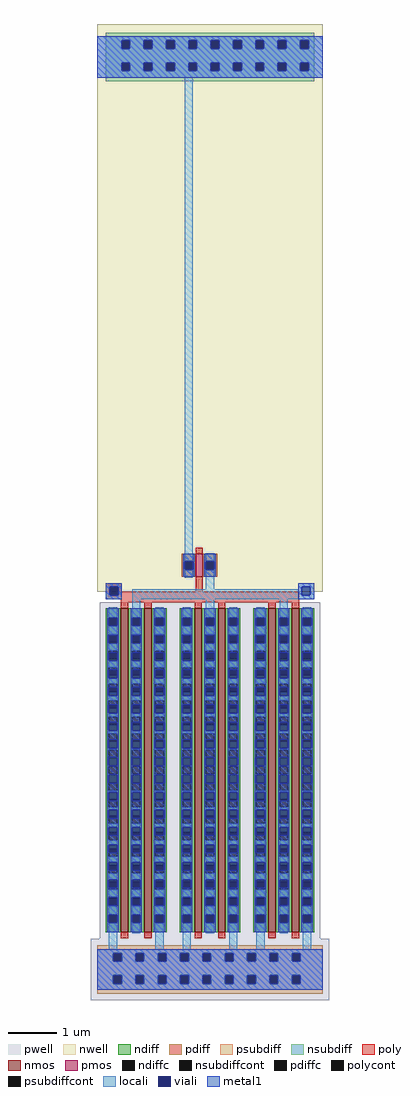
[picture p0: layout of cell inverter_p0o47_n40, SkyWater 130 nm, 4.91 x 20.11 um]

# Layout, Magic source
magic
tech sky130A
magscale 1 2
<< nwell >>
rect -36 1490 894 3830
<< pwell >>
rect -62 -192 920 60
<< psubdiff >>
rect -36 1 894 34
rect -36 -33 31 1
rect 65 -33 123 1
rect 157 -33 215 1
rect 249 -33 307 1
rect 341 -33 399 1
rect 433 -33 491 1
rect 525 -33 583 1
rect 617 -33 675 1
rect 709 -33 767 1
rect 801 -33 894 1
rect -36 -91 894 -33
rect -36 -125 31 -91
rect 65 -125 123 -91
rect 157 -125 215 -91
rect 249 -125 307 -91
rect 341 -125 399 -91
rect 433 -125 491 -91
rect 525 -125 583 -91
rect 617 -125 675 -91
rect 709 -125 767 -91
rect 801 -125 894 -91
rect -36 -166 894 -125
<< nsubdiff >>
rect 0 3763 858 3794
rect 0 3729 65 3763
rect 99 3729 157 3763
rect 191 3729 249 3763
rect 283 3729 341 3763
rect 375 3729 433 3763
rect 467 3729 525 3763
rect 559 3729 617 3763
rect 651 3729 709 3763
rect 743 3729 801 3763
rect 835 3729 858 3763
rect 0 3671 858 3729
rect 0 3637 65 3671
rect 99 3637 157 3671
rect 191 3637 249 3671
rect 283 3637 341 3671
rect 375 3637 433 3671
rect 467 3637 525 3671
rect 559 3637 617 3671
rect 651 3637 709 3671
rect 743 3637 801 3671
rect 835 3637 858 3671
rect 0 3594 858 3637
<< psubdiffcont >>
rect 31 -33 65 1
rect 123 -33 157 1
rect 215 -33 249 1
rect 307 -33 341 1
rect 399 -33 433 1
rect 491 -33 525 1
rect 583 -33 617 1
rect 675 -33 709 1
rect 767 -33 801 1
rect 31 -125 65 -91
rect 123 -125 157 -91
rect 215 -125 249 -91
rect 307 -125 341 -91
rect 399 -125 433 -91
rect 491 -125 525 -91
rect 583 -125 617 -91
rect 675 -125 709 -91
rect 767 -125 801 -91
<< nsubdiffcont >>
rect 65 3729 99 3763
rect 157 3729 191 3763
rect 249 3729 283 3763
rect 341 3729 375 3763
rect 433 3729 467 3763
rect 525 3729 559 3763
rect 617 3729 651 3763
rect 709 3729 743 3763
rect 801 3729 835 3763
rect 65 3637 99 3671
rect 157 3637 191 3671
rect 249 3637 283 3671
rect 341 3637 375 3671
rect 433 3637 467 3671
rect 525 3637 559 3671
rect 617 3637 651 3671
rect 709 3637 743 3671
rect 801 3637 835 3671
<< poly >>
rect 0 1510 66 1526
rect 0 1476 16 1510
rect 50 1490 66 1510
rect 370 1490 400 1526
rect 50 1476 796 1490
rect 0 1460 796 1476
rect 188 1448 366 1460
rect 492 1448 670 1460
<< polycont >>
rect 16 1476 50 1510
<< locali >>
rect -36 3763 894 3780
rect -36 3729 65 3763
rect 99 3729 157 3763
rect 191 3729 249 3763
rect 283 3729 341 3763
rect 375 3729 433 3763
rect 467 3729 525 3763
rect 559 3729 617 3763
rect 651 3729 709 3763
rect 743 3729 801 3763
rect 835 3729 894 3763
rect -36 3671 894 3729
rect -36 3637 65 3671
rect 99 3637 157 3671
rect 191 3637 249 3671
rect 283 3637 341 3671
rect 375 3637 433 3671
rect 467 3637 525 3671
rect 559 3637 617 3671
rect 651 3637 709 3671
rect 743 3637 801 3671
rect 835 3637 894 3671
rect -36 3608 894 3637
rect 324 1650 358 3608
rect 0 1510 66 1526
rect 0 1476 16 1510
rect 50 1476 66 1510
rect 412 1500 446 1548
rect 792 1510 858 1526
rect 792 1500 808 1510
rect 0 1460 66 1476
rect 108 1476 808 1500
rect 842 1476 858 1510
rect 108 1460 858 1476
rect 108 1426 142 1460
rect 412 1426 446 1460
rect 716 1426 750 1460
rect 12 18 46 84
rect 204 18 238 84
rect 316 18 350 84
rect 508 18 542 84
rect 620 18 654 84
rect 812 18 846 84
rect -36 1 894 18
rect -36 -33 31 1
rect 65 -33 123 1
rect 157 -33 215 1
rect 249 -33 307 1
rect 341 -33 399 1
rect 433 -33 491 1
rect 525 -33 583 1
rect 617 -33 675 1
rect 709 -33 767 1
rect 801 -33 894 1
rect -36 -91 894 -33
rect -36 -125 31 -91
rect 65 -125 123 -91
rect 157 -125 215 -91
rect 249 -125 307 -91
rect 341 -125 399 -91
rect 433 -125 491 -91
rect 525 -125 583 -91
rect 617 -125 675 -91
rect 709 -125 767 -91
rect 801 -125 894 -91
rect -36 -150 894 -125
<< viali >>
rect 65 3729 99 3763
rect 157 3729 191 3763
rect 249 3729 283 3763
rect 341 3729 375 3763
rect 433 3729 467 3763
rect 525 3729 559 3763
rect 617 3729 651 3763
rect 709 3729 743 3763
rect 801 3729 835 3763
rect 65 3637 99 3671
rect 157 3637 191 3671
rect 249 3637 283 3671
rect 341 3637 375 3671
rect 433 3637 467 3671
rect 525 3637 559 3671
rect 617 3637 651 3671
rect 709 3637 743 3671
rect 801 3637 835 3671
rect 16 1476 50 1510
rect 808 1476 842 1510
rect 31 -33 65 1
rect 123 -33 157 1
rect 215 -33 249 1
rect 307 -33 341 1
rect 399 -33 433 1
rect 491 -33 525 1
rect 583 -33 617 1
rect 675 -33 709 1
rect 767 -33 801 1
rect 31 -125 65 -91
rect 123 -125 157 -91
rect 215 -125 249 -91
rect 307 -125 341 -91
rect 399 -125 433 -91
rect 491 -125 525 -91
rect 583 -125 617 -91
rect 675 -125 709 -91
rect 767 -125 801 -91
<< metal1 >>
rect -36 3763 894 3780
rect -36 3729 65 3763
rect 99 3729 157 3763
rect 191 3729 249 3763
rect 283 3729 341 3763
rect 375 3729 433 3763
rect 467 3729 525 3763
rect 559 3729 617 3763
rect 651 3729 709 3763
rect 743 3729 801 3763
rect 835 3729 894 3763
rect -36 3671 894 3729
rect -36 3637 65 3671
rect 99 3637 157 3671
rect 191 3637 249 3671
rect 283 3637 341 3671
rect 375 3637 433 3671
rect 467 3637 525 3671
rect 559 3637 617 3671
rect 651 3637 709 3671
rect 743 3637 801 3671
rect 835 3637 894 3671
rect -36 3608 894 3637
rect 0 1510 66 1526
rect 0 1476 16 1510
rect 50 1476 66 1510
rect 0 1460 66 1476
rect 792 1510 858 1526
rect 792 1476 808 1510
rect 842 1476 858 1510
rect 792 1460 858 1476
rect -36 1 894 18
rect -36 -33 31 1
rect 65 -33 123 1
rect 157 -33 215 1
rect 249 -33 307 1
rect 341 -33 399 1
rect 433 -33 491 1
rect 525 -33 583 1
rect 617 -33 675 1
rect 709 -33 767 1
rect 801 -33 894 1
rect -36 -91 894 -33
rect -36 -125 31 -91
rect 65 -125 123 -91
rect 157 -125 215 -91
rect 249 -125 307 -91
rect 341 -125 399 -91
rect 433 -125 491 -91
rect 525 -125 583 -91
rect 617 -125 675 -91
rect 709 -125 767 -91
rect 801 -125 894 -91
rect -36 -150 894 -125
use sky130_fd_pr__nfet_01v8_CTSNWR  sky130_fd_pr__nfet_01v8_CTSNWR_0
transform 1 0 125 0 1 755
box -151 -693 151 723
use sky130_fd_pr__nfet_01v8_CTSNWR  sky130_fd_pr__nfet_01v8_CTSNWR_1
transform 1 0 429 0 1 755
box -151 -693 151 723
use sky130_fd_pr__nfet_01v8_CTSNWR  sky130_fd_pr__nfet_01v8_CTSNWR_2
transform 1 0 733 0 1 755
box -151 -693 151 723
use sky130_fd_pr__pfet_01v8_FCTDLW  sky130_fd_pr__pfet_01v8_FCTDLW_0
transform 1 0 385 0 1 1599
box -109 -109 109 109
<< end >>

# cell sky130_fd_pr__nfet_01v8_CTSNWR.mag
magic
tech sky130A
magscale 1 2
<< pwell >>
rect -151 -693 151 693
<< nmos >>
rect -63 -667 -33 667
rect 33 -667 63 667
<< ndiff >>
rect -125 629 -63 667
rect -125 595 -113 629
rect -79 595 -63 629
rect -125 561 -63 595
rect -125 527 -113 561
rect -79 527 -63 561
rect -125 493 -63 527
rect -125 459 -113 493
rect -79 459 -63 493
rect -125 425 -63 459
rect -125 391 -113 425
rect -79 391 -63 425
rect -125 357 -63 391
rect -125 323 -113 357
rect -79 323 -63 357
rect -125 289 -63 323
rect -125 255 -113 289
rect -79 255 -63 289
rect -125 221 -63 255
rect -125 187 -113 221
rect -79 187 -63 221
rect -125 153 -63 187
rect -125 119 -113 153
rect -79 119 -63 153
rect -125 85 -63 119
rect -125 51 -113 85
rect -79 51 -63 85
rect -125 17 -63 51
rect -125 -17 -113 17
rect -79 -17 -63 17
rect -125 -51 -63 -17
rect -125 -85 -113 -51
rect -79 -85 -63 -51
rect -125 -119 -63 -85
rect -125 -153 -113 -119
rect -79 -153 -63 -119
rect -125 -187 -63 -153
rect -125 -221 -113 -187
rect -79 -221 -63 -187
rect -125 -255 -63 -221
rect -125 -289 -113 -255
rect -79 -289 -63 -255
rect -125 -323 -63 -289
rect -125 -357 -113 -323
rect -79 -357 -63 -323
rect -125 -391 -63 -357
rect -125 -425 -113 -391
rect -79 -425 -63 -391
rect -125 -459 -63 -425
rect -125 -493 -113 -459
rect -79 -493 -63 -459
rect -125 -527 -63 -493
rect -125 -561 -113 -527
rect -79 -561 -63 -527
rect -125 -595 -63 -561
rect -125 -629 -113 -595
rect -79 -629 -63 -595
rect -125 -667 -63 -629
rect -33 629 33 667
rect -33 595 -17 629
rect 17 595 33 629
rect -33 561 33 595
rect -33 527 -17 561
rect 17 527 33 561
rect -33 493 33 527
rect -33 459 -17 493
rect 17 459 33 493
rect -33 425 33 459
rect -33 391 -17 425
rect 17 391 33 425
rect -33 357 33 391
rect -33 323 -17 357
rect 17 323 33 357
rect -33 289 33 323
rect -33 255 -17 289
rect 17 255 33 289
rect -33 221 33 255
rect -33 187 -17 221
rect 17 187 33 221
rect -33 153 33 187
rect -33 119 -17 153
rect 17 119 33 153
rect -33 85 33 119
rect -33 51 -17 85
rect 17 51 33 85
rect -33 17 33 51
rect -33 -17 -17 17
rect 17 -17 33 17
rect -33 -51 33 -17
rect -33 -85 -17 -51
rect 17 -85 33 -51
rect -33 -119 33 -85
rect -33 -153 -17 -119
rect 17 -153 33 -119
rect -33 -187 33 -153
rect -33 -221 -17 -187
rect 17 -221 33 -187
rect -33 -255 33 -221
rect -33 -289 -17 -255
rect 17 -289 33 -255
rect -33 -323 33 -289
rect -33 -357 -17 -323
rect 17 -357 33 -323
rect -33 -391 33 -357
rect -33 -425 -17 -391
rect 17 -425 33 -391
rect -33 -459 33 -425
rect -33 -493 -17 -459
rect 17 -493 33 -459
rect -33 -527 33 -493
rect -33 -561 -17 -527
rect 17 -561 33 -527
rect -33 -595 33 -561
rect -33 -629 -17 -595
rect 17 -629 33 -595
rect -33 -667 33 -629
rect 63 629 125 667
rect 63 595 79 629
rect 113 595 125 629
rect 63 561 125 595
rect 63 527 79 561
rect 113 527 125 561
rect 63 493 125 527
rect 63 459 79 493
rect 113 459 125 493
rect 63 425 125 459
rect 63 391 79 425
rect 113 391 125 425
rect 63 357 125 391
rect 63 323 79 357
rect 113 323 125 357
rect 63 289 125 323
rect 63 255 79 289
rect 113 255 125 289
rect 63 221 125 255
rect 63 187 79 221
rect 113 187 125 221
rect 63 153 125 187
rect 63 119 79 153
rect 113 119 125 153
rect 63 85 125 119
rect 63 51 79 85
rect 113 51 125 85
rect 63 17 125 51
rect 63 -17 79 17
rect 113 -17 125 17
rect 63 -51 125 -17
rect 63 -85 79 -51
rect 113 -85 125 -51
rect 63 -119 125 -85
rect 63 -153 79 -119
rect 113 -153 125 -119
rect 63 -187 125 -153
rect 63 -221 79 -187
rect 113 -221 125 -187
rect 63 -255 125 -221
rect 63 -289 79 -255
rect 113 -289 125 -255
rect 63 -323 125 -289
rect 63 -357 79 -323
rect 113 -357 125 -323
rect 63 -391 125 -357
rect 63 -425 79 -391
rect 113 -425 125 -391
rect 63 -459 125 -425
rect 63 -493 79 -459
rect 113 -493 125 -459
rect 63 -527 125 -493
rect 63 -561 79 -527
rect 113 -561 125 -527
rect 63 -595 125 -561
rect 63 -629 79 -595
rect 113 -629 125 -595
rect 63 -667 125 -629
<< ndiffc >>
rect -113 595 -79 629
rect -113 527 -79 561
rect -113 459 -79 493
rect -113 391 -79 425
rect -113 323 -79 357
rect -113 255 -79 289
rect -113 187 -79 221
rect -113 119 -79 153
rect -113 51 -79 85
rect -113 -17 -79 17
rect -113 -85 -79 -51
rect -113 -153 -79 -119
rect -113 -221 -79 -187
rect -113 -289 -79 -255
rect -113 -357 -79 -323
rect -113 -425 -79 -391
rect -113 -493 -79 -459
rect -113 -561 -79 -527
rect -113 -629 -79 -595
rect -17 595 17 629
rect -17 527 17 561
rect -17 459 17 493
rect -17 391 17 425
rect -17 323 17 357
rect -17 255 17 289
rect -17 187 17 221
rect -17 119 17 153
rect -17 51 17 85
rect -17 -17 17 17
rect -17 -85 17 -51
rect -17 -153 17 -119
rect -17 -221 17 -187
rect -17 -289 17 -255
rect -17 -357 17 -323
rect -17 -425 17 -391
rect -17 -493 17 -459
rect -17 -561 17 -527
rect -17 -629 17 -595
rect 79 595 113 629
rect 79 527 113 561
rect 79 459 113 493
rect 79 391 113 425
rect 79 323 113 357
rect 79 255 113 289
rect 79 187 113 221
rect 79 119 113 153
rect 79 51 113 85
rect 79 -17 113 17
rect 79 -85 113 -51
rect 79 -153 113 -119
rect 79 -221 113 -187
rect 79 -289 113 -255
rect 79 -357 113 -323
rect 79 -425 113 -391
rect 79 -493 113 -459
rect 79 -561 113 -527
rect 79 -629 113 -595
<< poly >>
rect -63 693 63 723
rect -63 667 -33 693
rect 33 667 63 693
rect -63 -693 -33 -667
rect 33 -693 63 -667
<< locali >>
rect -113 629 -79 671
rect -113 561 -79 595
rect -113 493 -79 523
rect -113 425 -79 451
rect -113 357 -79 379
rect -113 289 -79 307
rect -113 221 -79 235
rect -113 153 -79 163
rect -113 85 -79 91
rect -113 17 -79 19
rect -113 -19 -79 -17
rect -113 -91 -79 -85
rect -113 -163 -79 -153
rect -113 -235 -79 -221
rect -113 -307 -79 -289
rect -113 -379 -79 -357
rect -113 -451 -79 -425
rect -113 -523 -79 -493
rect -113 -595 -79 -561
rect -113 -671 -79 -629
rect -17 629 17 671
rect -17 561 17 595
rect -17 493 17 523
rect -17 425 17 451
rect -17 357 17 379
rect -17 289 17 307
rect -17 221 17 235
rect -17 153 17 163
rect -17 85 17 91
rect -17 17 17 19
rect -17 -19 17 -17
rect -17 -91 17 -85
rect -17 -163 17 -153
rect -17 -235 17 -221
rect -17 -307 17 -289
rect -17 -379 17 -357
rect -17 -451 17 -425
rect -17 -523 17 -493
rect -17 -595 17 -561
rect -17 -671 17 -629
rect 79 629 113 671
rect 79 561 113 595
rect 79 493 113 523
rect 79 425 113 451
rect 79 357 113 379
rect 79 289 113 307
rect 79 221 113 235
rect 79 153 113 163
rect 79 85 113 91
rect 79 17 113 19
rect 79 -19 113 -17
rect 79 -91 113 -85
rect 79 -163 113 -153
rect 79 -235 113 -221
rect 79 -307 113 -289
rect 79 -379 113 -357
rect 79 -451 113 -425
rect 79 -523 113 -493
rect 79 -595 113 -561
rect 79 -671 113 -629
<< viali >>
rect -113 595 -79 629
rect -113 527 -79 557
rect -113 523 -79 527
rect -113 459 -79 485
rect -113 451 -79 459
rect -113 391 -79 413
rect -113 379 -79 391
rect -113 323 -79 341
rect -113 307 -79 323
rect -113 255 -79 269
rect -113 235 -79 255
rect -113 187 -79 197
rect -113 163 -79 187
rect -113 119 -79 125
rect -113 91 -79 119
rect -113 51 -79 53
rect -113 19 -79 51
rect -113 -51 -79 -19
rect -113 -53 -79 -51
rect -113 -119 -79 -91
rect -113 -125 -79 -119
rect -113 -187 -79 -163
rect -113 -197 -79 -187
rect -113 -255 -79 -235
rect -113 -269 -79 -255
rect -113 -323 -79 -307
rect -113 -341 -79 -323
rect -113 -391 -79 -379
rect -113 -413 -79 -391
rect -113 -459 -79 -451
rect -113 -485 -79 -459
rect -113 -527 -79 -523
rect -113 -557 -79 -527
rect -113 -629 -79 -595
rect -17 595 17 629
rect -17 527 17 557
rect -17 523 17 527
rect -17 459 17 485
rect -17 451 17 459
rect -17 391 17 413
rect -17 379 17 391
rect -17 323 17 341
rect -17 307 17 323
rect -17 255 17 269
rect -17 235 17 255
rect -17 187 17 197
rect -17 163 17 187
rect -17 119 17 125
rect -17 91 17 119
rect -17 51 17 53
rect -17 19 17 51
rect -17 -51 17 -19
rect -17 -53 17 -51
rect -17 -119 17 -91
rect -17 -125 17 -119
rect -17 -187 17 -163
rect -17 -197 17 -187
rect -17 -255 17 -235
rect -17 -269 17 -255
rect -17 -323 17 -307
rect -17 -341 17 -323
rect -17 -391 17 -379
rect -17 -413 17 -391
rect -17 -459 17 -451
rect -17 -485 17 -459
rect -17 -527 17 -523
rect -17 -557 17 -527
rect -17 -629 17 -595
rect 79 595 113 629
rect 79 527 113 557
rect 79 523 113 527
rect 79 459 113 485
rect 79 451 113 459
rect 79 391 113 413
rect 79 379 113 391
rect 79 323 113 341
rect 79 307 113 323
rect 79 255 113 269
rect 79 235 113 255
rect 79 187 113 197
rect 79 163 113 187
rect 79 119 113 125
rect 79 91 113 119
rect 79 51 113 53
rect 79 19 113 51
rect 79 -51 113 -19
rect 79 -53 113 -51
rect 79 -119 113 -91
rect 79 -125 113 -119
rect 79 -187 113 -163
rect 79 -197 113 -187
rect 79 -255 113 -235
rect 79 -269 113 -255
rect 79 -323 113 -307
rect 79 -341 113 -323
rect 79 -391 113 -379
rect 79 -413 113 -391
rect 79 -459 113 -451
rect 79 -485 113 -459
rect 79 -527 113 -523
rect 79 -557 113 -527
rect 79 -629 113 -595
<< metal1 >>
rect -119 629 -73 667
rect -119 595 -113 629
rect -79 595 -73 629
rect -119 557 -73 595
rect -119 523 -113 557
rect -79 523 -73 557
rect -119 485 -73 523
rect -119 451 -113 485
rect -79 451 -73 485
rect -119 413 -73 451
rect -119 379 -113 413
rect -79 379 -73 413
rect -119 341 -73 379
rect -119 307 -113 341
rect -79 307 -73 341
rect -119 269 -73 307
rect -119 235 -113 269
rect -79 235 -73 269
rect -119 197 -73 235
rect -119 163 -113 197
rect -79 163 -73 197
rect -119 125 -73 163
rect -119 91 -113 125
rect -79 91 -73 125
rect -119 53 -73 91
rect -119 19 -113 53
rect -79 19 -73 53
rect -119 -19 -73 19
rect -119 -53 -113 -19
rect -79 -53 -73 -19
rect -119 -91 -73 -53
rect -119 -125 -113 -91
rect -79 -125 -73 -91
rect -119 -163 -73 -125
rect -119 -197 -113 -163
rect -79 -197 -73 -163
rect -119 -235 -73 -197
rect -119 -269 -113 -235
rect -79 -269 -73 -235
rect -119 -307 -73 -269
rect -119 -341 -113 -307
rect -79 -341 -73 -307
rect -119 -379 -73 -341
rect -119 -413 -113 -379
rect -79 -413 -73 -379
rect -119 -451 -73 -413
rect -119 -485 -113 -451
rect -79 -485 -73 -451
rect -119 -523 -73 -485
rect -119 -557 -113 -523
rect -79 -557 -73 -523
rect -119 -595 -73 -557
rect -119 -629 -113 -595
rect -79 -629 -73 -595
rect -119 -667 -73 -629
rect -23 629 23 667
rect -23 595 -17 629
rect 17 595 23 629
rect -23 557 23 595
rect -23 523 -17 557
rect 17 523 23 557
rect -23 485 23 523
rect -23 451 -17 485
rect 17 451 23 485
rect -23 413 23 451
rect -23 379 -17 413
rect 17 379 23 413
rect -23 341 23 379
rect -23 307 -17 341
rect 17 307 23 341
rect -23 269 23 307
rect -23 235 -17 269
rect 17 235 23 269
rect -23 197 23 235
rect -23 163 -17 197
rect 17 163 23 197
rect -23 125 23 163
rect -23 91 -17 125
rect 17 91 23 125
rect -23 53 23 91
rect -23 19 -17 53
rect 17 19 23 53
rect -23 -19 23 19
rect -23 -53 -17 -19
rect 17 -53 23 -19
rect -23 -91 23 -53
rect -23 -125 -17 -91
rect 17 -125 23 -91
rect -23 -163 23 -125
rect -23 -197 -17 -163
rect 17 -197 23 -163
rect -23 -235 23 -197
rect -23 -269 -17 -235
rect 17 -269 23 -235
rect -23 -307 23 -269
rect -23 -341 -17 -307
rect 17 -341 23 -307
rect -23 -379 23 -341
rect -23 -413 -17 -379
rect 17 -413 23 -379
rect -23 -451 23 -413
rect -23 -485 -17 -451
rect 17 -485 23 -451
rect -23 -523 23 -485
rect -23 -557 -17 -523
rect 17 -557 23 -523
rect -23 -595 23 -557
rect -23 -629 -17 -595
rect 17 -629 23 -595
rect -23 -667 23 -629
rect 73 629 119 667
rect 73 595 79 629
rect 113 595 119 629
rect 73 557 119 595
rect 73 523 79 557
rect 113 523 119 557
rect 73 485 119 523
rect 73 451 79 485
rect 113 451 119 485
rect 73 413 119 451
rect 73 379 79 413
rect 113 379 119 413
rect 73 341 119 379
rect 73 307 79 341
rect 113 307 119 341
rect 73 269 119 307
rect 73 235 79 269
rect 113 235 119 269
rect 73 197 119 235
rect 73 163 79 197
rect 113 163 119 197
rect 73 125 119 163
rect 73 91 79 125
rect 113 91 119 125
rect 73 53 119 91
rect 73 19 79 53
rect 113 19 119 53
rect 73 -19 119 19
rect 73 -53 79 -19
rect 113 -53 119 -19
rect 73 -91 119 -53
rect 73 -125 79 -91
rect 113 -125 119 -91
rect 73 -163 119 -125
rect 73 -197 79 -163
rect 113 -197 119 -163
rect 73 -235 119 -197
rect 73 -269 79 -235
rect 113 -269 119 -235
rect 73 -307 119 -269
rect 73 -341 79 -307
rect 113 -341 119 -307
rect 73 -379 119 -341
rect 73 -413 79 -379
rect 113 -413 119 -379
rect 73 -451 119 -413
rect 73 -485 79 -451
rect 113 -485 119 -451
rect 73 -523 119 -485
rect 73 -557 79 -523
rect 113 -557 119 -523
rect 73 -595 119 -557
rect 73 -629 79 -595
rect 113 -629 119 -595
rect 73 -667 119 -629
<< end >>

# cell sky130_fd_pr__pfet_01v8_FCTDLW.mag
magic
tech sky130A
magscale 1 2
<< nwell >>
rect -109 -109 109 109
<< pmos >>
rect -15 -47 15 47
<< pdiff >>
rect -73 17 -15 47
rect -73 -17 -61 17
rect -27 -17 -15 17
rect -73 -47 -15 -17
rect 15 17 73 47
rect 15 -17 27 17
rect 61 -17 73 17
rect 15 -47 73 -17
<< pdiffc >>
rect -61 -17 -27 17
rect 27 -17 61 17
<< poly >>
rect -15 47 15 73
rect -15 -73 15 -47
<< locali >>
rect -61 17 -27 51
rect -61 -51 -27 -17
rect 27 17 61 51
rect 27 -51 61 -17
<< viali >>
rect -61 -17 -27 17
rect 27 -17 61 17
<< metal1 >>
rect -67 17 -21 47
rect -67 -17 -61 17
rect -27 -17 -21 17
rect -67 -47 -21 -17
rect 21 17 67 47
rect 21 -17 27 17
rect 61 -17 67 17
rect 21 -47 67 -17
<< end >>
